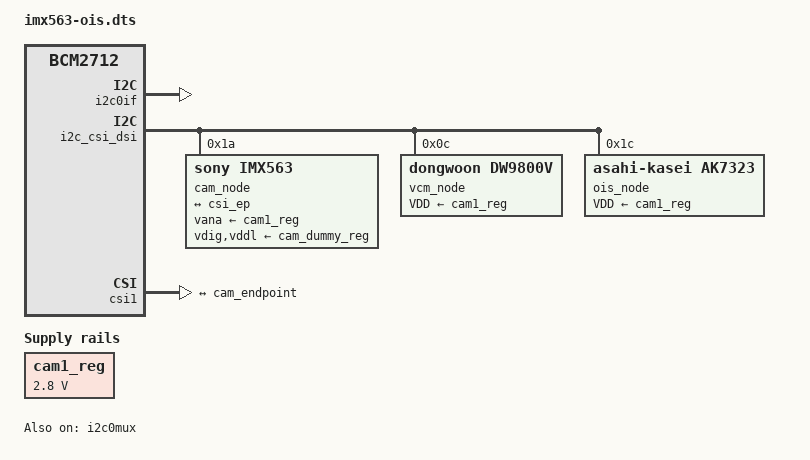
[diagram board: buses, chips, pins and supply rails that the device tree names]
// SPDX-License-Identifier: GPL-2.0
// Device Tree overlay — Waveshare IMX563 12MP OIS module on a Pi 5 / CM5
// CSI port (4 lanes), through the ProtoHUD 24-pin B2B -> 22-pin FFC adapter.
//
// Nodes created on the camera's I2C bus:
//   imx563@1a   sensor          (drivers/imx563/imx563.c)
//   dw9800v@c   focus VCM       (drivers/imx563/dw9800v.c)
//   ak7323@1c   OIS controller  (drivers/imx563/ak7323_ois.c)
//
// TODO(verify) all three I2C addresses with tools/imx563_probe.py before
// trusting this file — the OIS address in particular is a guess. They are
// overridable: dtoverlay=imx563-ois,ois-addr=0x0d
//
// Power: the adapter's LDO enables are driven by the port's CAM_GPIO, which
// the base DT exposes as camN_reg (a GPIO-switched fixed regulator). All
// sensor/VCM/OIS supplies hang off it; the driver's power sequencing sees one
// rail, and the adapter's LDO soft-start ordering does the rest.
//
// Build:
//   dtc -@ -I dts -O dtb -o imx563-ois.dtbo imx563-ois.dts
// Install:
//   sudo cp imx563-ois.dtbo /boot/firmware/overlays/
//   # /boot/firmware/config.txt:
//   camera_auto_detect=0
//   dtoverlay=imx563-ois            # CAM1 / CSI1
//   dtoverlay=imx563-ois,cam0       # CAM0 / CSI0 (second eye)

/dts-v1/;
/plugin/;

/ {
	compatible = "brcm,bcm2712";

	fragment@0 {
		target = <&i2c0if>;
		__overlay__ {
			status = "okay";
		};
	};

	clk_frag: fragment@1 {
		target = <&cam1_clk>;
		__overlay__ {
			clock-frequency = <24000000>;
			status = "okay";
		};
	};

	fragment@2 {
		target = <&i2c0mux>;
		__overlay__ {
			status = "okay";
		};
	};

	reg_frag: fragment@3 {
		target = <&cam1_reg>;
		__overlay__ {
			startup-delay-us = <70000>;
			off-on-delay-us = <30000>;
			regulator-min-microvolt = <2800000>;
			regulator-max-microvolt = <2800000>;
		};
	};

	i2c_frag: fragment@100 {
		target = <&i2c_csi_dsi>;
		__overlay__ {
			#address-cells = <1>;
			#size-cells = <0>;
			status = "okay";

			cam_node: imx563@1a {
				compatible = "sony,imx563";
				reg = <0x1a>;
				status = "okay";

				clocks = <&cam1_clk>;
				clock-names = "xclk";

				vana-supply = <&cam1_reg>;
				vdig-supply = <&cam_dummy_reg>;
				vddl-supply = <&cam_dummy_reg>;

				rotation = <180>;
				orientation = <2>;
				lens-focus = <&vcm_node>;

				port {
					cam_endpoint: endpoint {
						clock-lanes = <0>;
						data-lanes = <1 2 3 4>;
						clock-noncontinuous;
						link-frequencies =
							/bits/ 64 <600000000>;
						remote-endpoint = <&csi_ep>;
					};
				};
			};

			vcm_node: dw9800v@c {
				compatible = "dongwoon,dw9800v";
				reg = <0x0c>;
				status = "okay";
				VDD-supply = <&cam1_reg>;
			};

			ois_node: ak7323@1c {
				compatible = "asahi-kasei,ak7323";
				reg = <0x1c>;
				status = "okay";
				VDD-supply = <&cam1_reg>;
			};
		};
	};

	csi_frag: fragment@101 {
		target = <&csi1>;
		csi: __overlay__ {
			status = "okay";
			brcm,media-controller;

			port {
				csi_ep: endpoint {
					remote-endpoint = <&cam_endpoint>;
					clock-lanes = <0>;
					data-lanes = <1 2 3 4>;
					clock-noncontinuous;
				};
			};
		};
	};

	__overrides__ {
		rotation = <&cam_node>, "rotation:0";
		orientation = <&cam_node>, "orientation:0";
		media-controller = <&csi>, "brcm,media-controller?";
		link-frequency = <&cam_endpoint>, "link-frequencies#0";
		sensor-addr = <&cam_node>, "reg:0";
		vcm-addr = <&vcm_node>, "reg:0";
		ois-addr = <&ois_node>, "reg:0";
		ois = <&ois_node>, "status";	/* ois=off skips the OIS node */
		cam0 = <&i2c_frag>, "target:0=", <&i2c_csi_dsi0>,
		       <&csi_frag>, "target:0=", <&csi0>,
		       <&clk_frag>, "target:0=", <&cam0_clk>,
		       <&reg_frag>, "target:0=", <&cam0_reg>,
		       <&cam_node>, "clocks:0=", <&cam0_clk>,
		       <&cam_node>, "vana-supply:0=", <&cam0_reg>,
		       <&vcm_node>, "VDD-supply:0=", <&cam0_reg>,
		       <&ois_node>, "VDD-supply:0=", <&cam0_reg>;
	};
};
